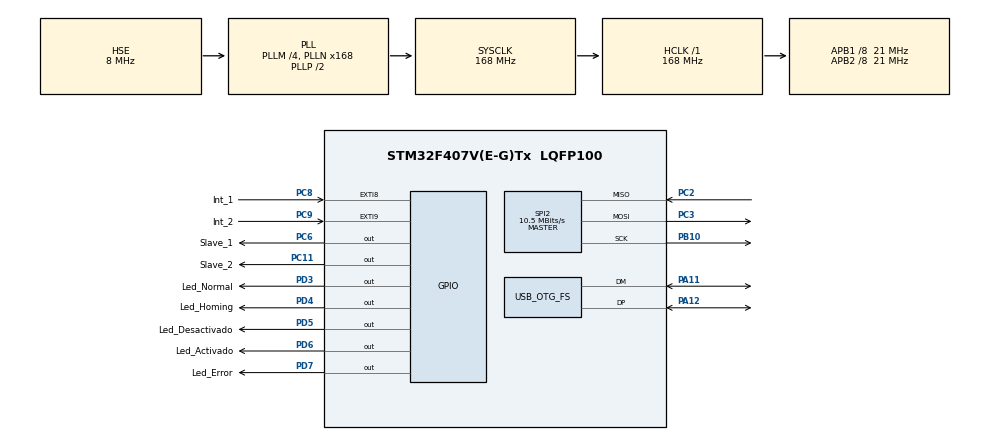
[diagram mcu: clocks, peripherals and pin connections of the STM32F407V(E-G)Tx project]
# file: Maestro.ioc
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Mcu.Family=STM32F4
Mcu.Name=STM32F407V(E-G)Tx
Mcu.Package=LQFP100
NVIC.EXTI9_5_IRQn=true\:0\:0\:true\:false\:true\:true\:true
NVIC.OTG_FS_IRQn=true\:0\:0\:false\:false\:true\:true\:true
NVIC.PriorityGroup=NVIC_PRIORITYGROUP_3
NVIC.SPI2_IRQn=true\:0\:0\:true\:false\:true\:true\:true
PA11.Mode=Device_Only
PA11.Signal=USB_OTG_FS_DM
PA12.Mode=Device_Only
PA12.Signal=USB_OTG_FS_DP
PB10.Mode=Full_Duplex_Master
PB10.Signal=SPI2_SCK
PC11.GPIO_Label=Slave_2
PC11.GPIO_Speed=GPIO_SPEED_FREQ_HIGH
PC11.PinState=GPIO_PIN_RESET
PC11.Signal=GPIO_Output
PC2.Mode=Full_Duplex_Master
PC2.Signal=SPI2_MISO
PC3.Mode=Full_Duplex_Master
PC3.Signal=SPI2_MOSI
PC6.GPIO_Label=Slave_1
PC6.GPIO_Speed=GPIO_SPEED_FREQ_HIGH
PC6.PinState=GPIO_PIN_SET
PC6.Signal=GPIO_Output
PC8.GPIO_Label=Int_1
PC8.GPIO_ModeDefaultEXTI=GPIO_MODE_IT_RISING
PC8.GPIO_PuPd=GPIO_PULLDOWN
PC8.Signal=GPXTI8
PC9.GPIO_Label=Int_2
PC9.GPIO_ModeDefaultEXTI=GPIO_MODE_IT_RISING
PC9.GPIO_PuPd=GPIO_PULLDOWN
PC9.Signal=GPXTI9
PD3.GPIO_Label=Led_Normal
PD3.Signal=GPIO_Output
PD4.GPIO_Label=Led_Homing
PD4.Signal=GPIO_Output
PD5.GPIO_Label=Led_Desactivado
PD5.PinState=GPIO_PIN_SET
PD5.Signal=GPIO_Output
PD6.GPIO_Label=Led_Activado
PD6.Signal=GPIO_Output
PD7.GPIO_Label=Led_Error
PD7.Signal=GPIO_Output
PH0-OSC_IN.Mode=HSE-External-Clock-Source
PH0-OSC_IN.Signal=RCC_OSC_IN
PH1-OSC_OUT.Mode=HSE-External-Clock-Source
PH1-OSC_OUT.Signal=RCC_OSC_OUT
ProjectManager.HeapSize=0x2000
ProjectManager.StackSize=0x4000
ProjectManager.TargetToolchain=STM32CubeIDE
RCC.48MHZClocksFreq_Value=48000000
RCC.AHBFreq_Value=168000000
RCC.APB1CLKDivider=RCC_HCLK_DIV8
RCC.APB1Freq_Value=21000000
RCC.APB1TimFreq_Value=42000000
RCC.APB2CLKDivider=RCC_HCLK_DIV8
RCC.APB2Freq_Value=21000000
RCC.APB2TimFreq_Value=42000000
RCC.CortexFreq_Value=168000000
RCC.HCLKFreq_Value=168000000
RCC.HSE_VALUE=8000000
RCC.HSI_VALUE=16000000
RCC.LSE_VALUE=32768
RCC.LockedElements=USBOTGOutput,PeriphPrescOutput,APB2Output,TimPrescOut,APB1Output,FCLKCortexOutput,CortexSysOutput,HCLKOutput,EthernetPtpOutput
RCC.PLLM=4
RCC.PLLN=168
RCC.PLLQ=7
RCC.SYSCLKFreq_VALUE=168000000
RCC.SYSCLKSource=RCC_SYSCLKSOURCE_PLLCLK
RCC.VCOOutputFreq_Value=336000000
SPI2.BaudRatePrescaler=SPI_BAUDRATEPRESCALER_2
SPI2.CalculateBaudRate=10.5 MBits/s
SPI2.Direction=SPI_DIRECTION_2LINES
SPI2.Mode=SPI_MODE_MASTER
SPI2.VirtualType=VM_MASTER
USB_DEVICE.CLASS_NAME_FS=CDC
USB_DEVICE.VirtualMode-CDC_FS=Cdc
USB_DEVICE.VirtualModeFS=Cdc_FS
USB_OTG_FS.VirtualMode=Device_Only
VP_USB_DEVICE_VS_USB_DEVICE_CDC_FS.Mode=CDC_FS
board=STM32F407G-DISC1

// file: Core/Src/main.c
/* USER CODE BEGIN Header */
/**
 ******************************************************************************
 * @file           : main.c
 * @brief          : Main program body
 ******************************************************************************
 * @attention
 *
 * <h2><center>&copy; Copyright (c) 2020 STMicroelectronics.
 * All rights reserved.</center></h2>
 *
 * This software component is licensed by ST under Ultimate Liberty license
 * SLA0044, the "License"; You may not use this file except in compliance with
 * the License. You may obtain a copy of the License at:
 *                             www.st.com/SLA0044
 *
 ******************************************************************************
 */
/* USER CODE END Header */

#include "main.h"
#include "spi.h"
#include "usb_device.h"
#include "gpio.h"
#include "funciones.h"
/* USER CODE BEGIN Includes */
#include "usbd_cdc_if.h"
#include "identificador.h"
/* USER CODE END Includes */

/* USER CODE BEGIN PV */
extern int contador_instrucciones;
extern char str[50];
extern uint8_t flag_mensaje_completo;
volatile uint8_t flag_INT = 1;
uint8_t pRxData, dato_P = 'K';
enum Estado_MDE {
	Activado, Desactivado, Modo_Homing, Modo_Normal, Error
};
enum Modos {
	M_error, M_listo, M_realizando
};
typedef struct estado_esclavos {
	enum Modos esclavo_1;
	enum Modos esclavo_2;
} Estado_Esclavos;
Estado_Esclavos controlador;
/* USER CODE END PV */

void SystemClock_Config(void);

int main(void) {
	/* USER CODE BEGIN 1 */
	int cant = 0;
	double instrucciones[50];
	//Flags
	uint8_t flag_activacion = 0;
	uint8_t flag_homing = 0, flag_cambio = 0;
	//Variables enum
	enum Estado_MDE estado = Desactivado;
	int comando;
	controlador.esclavo_1 = M_listo;
	controlador.esclavo_2 = M_listo;
	/* USER CODE END 1 */

	/* MCU Configuration--------------------------------------------------------*/

	/* Reset of all peripherals, Initializes the Flash interface and the Systick. */
	HAL_Init();

	/* Configure the system clock */
	SystemClock_Config();

	/* Initialize all configured peripherals */
	MX_GPIO_Init();
	MX_USB_DEVICE_Init();
	MX_SPI2_Init();
	/* USER CODE BEGIN 2 */
	/*	SPI_Transmit_1('D');
	 SPI_Transmit_1('/');
	 SPI_Transmit_1('P');*/
	SPI_Transmit_1(':');
	/*controlador.esclavo_1 = M_realizando;
	 Mi_Timer();*/
	/* USER CODE END 2 */

	/* Infinite loop */
	/* USER CODE BEGIN WHILE */
	while (1) {
		//Generar string
		//Generar comandos
		if (flag_mensaje_completo == 0) {
			cant = identificador(str, instrucciones, contador_instrucciones);
			flag_mensaje_completo = 1;
			contador_instrucciones = 0;
		}
		//Identificar comandos
		if (flag_mensaje_completo == 1) {
			for (int i = 0; i < cant; i++) {
				while (controlador.esclavo_1 == M_realizando
						|| controlador.esclavo_2 == M_realizando)

					;
				comando = (int) instrucciones[i];
				switch (comando) {
				case Modo_desactivado:
					if (flag_activacion) {
						SPI_Transmit_1('D');
						SPI_Transmit_1('/');
						SPI_Transmit_1('P');
						SPI_Transmit_1(':');
						Mi_Timer();
						if (dato_P == 'D') {
							estado = Desactivado;
							flag_activacion = 0;
							flag_homing = 0;
							flag_cambio = 1;
						} else if (dato_P == 'E') {
							estado = Error;
							i = cant;
						} else {
							i--;
						}
					}
					break;
				case Modo_activado:
					if (!flag_activacion) {
						SPI_Transmit_1('A');
						SPI_Transmit_1('/');
						SPI_Transmit_1('P');
						SPI_Transmit_1(':');
						Mi_Timer();
						if (dato_P == 'A') {
							estado = Activado;
							flag_activacion = 1;
							flag_cambio = 1;
						} else if (dato_P == 'E') {
							estado = Error;
							i = cant;
						} else {
							i--;
						}
					}
					break;
				case Modo_homing:
					if (flag_activacion) {
						//Prender un LED
						//Mandar consigna de homing
						controlador.esclavo_1 = M_realizando;
						SPI_Transmit_1('H');
						SPI_Transmit_1('/');
						//Verificar consigna
						SPI_Transmit_1('P');
						SPI_Transmit_1(':');
						Mi_Timer();
						if (dato_P == 'H') {
							Leds_Homing();
							estado = Modo_Homing;
							flag_homing = 1;
							flag_cambio = 1;
						} else if (dato_P == 'E') {
							estado = Error;
							i = cant;
						} else {
							i--;
						}
					}
					break;
				case Cin_dir:
					if (flag_activacion && flag_homing) {
						controlador.esclavo_1 = M_realizando;
						Cin_Dir(instrucciones, i);
						Mi_Timer();
						//Verificar que se logre
						if (dato_P == 'N') {
							Leds_Normal();
							estado = Modo_Normal;
							flag_cambio = 1;
						} else if (dato_P == 'E') {
							estado = Error;
							i = cant;
						} else {
							i--;
						}
					}
					i += 5;
					break;
				case Cin_inv:
					i += 5;
					break;
				case Resumen:
					break;
				}
				dato_P = 'K';
			}
			flag_mensaje_completo = 2;
			cant = 0;
		}
		if (controlador.esclavo_1 == M_listo
				&& controlador.esclavo_2 == M_listo) {
			switch (estado) {
			case Activado:
				if (flag_cambio) {
					Leds_Activado();
					flag_cambio = 0;
				}
				break;
			case Desactivado:
				if (flag_cambio) {
					//Prender LED
					Leds_Desactivado();
					flag_cambio = 0;
				}
				break;
			case Modo_Homing:
				if (flag_cambio) {
					//Prender LED
					HAL_GPIO_WritePin(Led_Homing_GPIO_Port, Led_Homing_Pin,
							GPIO_PIN_RESET);
					flag_cambio = 0;
				}
				break;
			case Modo_Normal:
				if (flag_cambio) {
					//Prender LED
					HAL_GPIO_WritePin(Led_Normal_GPIO_Port, Led_Normal_Pin,
							GPIO_PIN_RESET);
					flag_cambio = 0;
				}
				break;
			case Error:
				//	Leds_Error();
				break;
			}
		}

		/* USER CODE END WHILE */

	}
}
void SystemClock_Config(void) {
	RCC_OscInitTypeDef RCC_OscInitStruct = { 0 };
	RCC_ClkInitTypeDef RCC_ClkInitStruct = { 0 };

	/** Configure the main internal regulator output voltage
	 */
	__HAL_RCC_PWR_CLK_ENABLE();
	__HAL_PWR_VOLTAGESCALING_CONFIG(PWR_REGULATOR_VOLTAGE_SCALE1);
	/** Initializes the CPU, AHB and APB busses clocks
	 */
	RCC_OscInitStruct.OscillatorType = RCC_OSCILLATORTYPE_HSE;
	RCC_OscInitStruct.HSEState = RCC_HSE_BYPASS;
	RCC_OscInitStruct.PLL.PLLState = RCC_PLL_ON;
	RCC_OscInitStruct.PLL.PLLSource = RCC_PLLSOURCE_HSE;
	RCC_OscInitStruct.PLL.PLLM = 4;
	RCC_OscInitStruct.PLL.PLLN = 168;
	RCC_OscInitStruct.PLL.PLLP = RCC_PLLP_DIV2;
	RCC_OscInitStruct.PLL.PLLQ = 7;
	if (HAL_RCC_OscConfig(&RCC_OscInitStruct) != HAL_OK) {
		Error_Handler();
	}
	/** Initializes the CPU, AHB and APB busses clocks
	 */
	RCC_ClkInitStruct.ClockType = RCC_CLOCKTYPE_HCLK | RCC_CLOCKTYPE_SYSCLK
			| RCC_CLOCKTYPE_PCLK1 | RCC_CLOCKTYPE_PCLK2;
	RCC_ClkInitStruct.SYSCLKSource = RCC_SYSCLKSOURCE_PLLCLK;
	RCC_ClkInitStruct.AHBCLKDivider = RCC_SYSCLK_DIV1;
	RCC_ClkInitStruct.APB1CLKDivider = RCC_HCLK_DIV8;
	RCC_ClkInitStruct.APB2CLKDivider = RCC_HCLK_DIV8;

	if (HAL_RCC_ClockConfig(&RCC_ClkInitStruct, FLASH_LATENCY_5) != HAL_OK) {
		Error_Handler();
	}
}

/* USER CODE BEGIN 4 */
/*Va a haber dos funciones slave transmit,
 una para cada esclavo, va a ser una sola interrupcion externa por placa
 La gestion de cada motor lo hace cada esclavo.
 En el struct tenemos que tener: Posicion actual, posicion deseada, dirección
 deseada, etc.*/
//Esta funcion la tenemos que hacer contemplando el modo de trabajo.
void SPI_Transmit_1(uint8_t pTxData) {

	HAL_GPIO_WritePin(GPIOC, GPIO_PIN_6, GPIO_PIN_RESET);
	HAL_SPI_Transmit_IT(&hspi2, &pTxData, 1);
	HAL_GPIO_WritePin(GPIOC, GPIO_PIN_6, GPIO_PIN_SET);
}
void SPI_Transmit_2(uint8_t pTxData) {

//HAL_GPIO_WritePin(GPIOC, GPIO_PIN_6, GPIO_PIN_RESET); //PIN NSS Esclavo 2 Bajo
//HAL_SPI_Transmit_IT(&hspi2, &pTxData, 1);
//HAL_GPIO_WritePin(GPIOC, GPIO_PIN_6, GPIO_PIN_SET);	//PIN NSS Esclavo 2 Alto
}
void Mi_Timer() {
	flag_INT = 1;
	/*	long contador = 0;
	 flag_INT = 1;
	 switch (estado) {
	 case 'A':
	 while (flag_INT) {
	 contador++;
	 if (contador == 1000000) {
	 pRxData = 'K';
	 break;
	 }
	 }
	 break;
	 case 'D':
	 while (flag_INT) {
	 contador++;
	 if (contador == 1000000) {
	 pRxData = 'K';
	 break;
	 }
	 }
	 break;
	 case 'H':
	 while (flag_INT);
	 break;
	 case 'N':
	 while (flag_INT);
	 break;
	 }
	 */
	while (flag_INT)
		;
	flag_INT = 1;

}
void HAL_GPIO_EXTI_Callback(uint16_t GPIO_Pin) {
	static uint8_t D_transmision = '\0';
	switch (GPIO_Pin) {
	case GPIO_PIN_8: 	//INT 1 Esclavo 1 (2 motores)
		HAL_GPIO_WritePin(GPIOC, GPIO_PIN_6, GPIO_PIN_RESET);
		HAL_SPI_TransmitReceive(&hspi2, &D_transmision, &pRxData, 1, 1);
		HAL_GPIO_WritePin(GPIOC, GPIO_PIN_6, GPIO_PIN_SET);
		if (pRxData == 'E') {
			SPI_Transmit_2('E');
			SPI_Transmit_2(':');
			flag_INT = 0;
			dato_P = 'E';
			controlador.esclavo_1 = M_error;
			Error_Handler();
		} else if (pRxData == 'L') {
			controlador.esclavo_1 = M_listo;
		} else {
			flag_INT = 0;
			dato_P = pRxData;
		}
		break;
	case GPIO_PIN_9: 	//INT2 Esclavo 2
		/*
		 HAL_GPIO_WritePin(GPIOC, GPIO_PIN_6, GPIO_PIN_RESET);
		 HAL_SPI_TransmitReceive(&hspi2, &D_transmision, &pRxData, 1, 1);
		 HAL_GPIO_WritePin(GPIOC, GPIO_PIN_6, GPIO_PIN_SET);
		 if(pRxData=='E'){
		 SPI_Transmit_1('E');
		 SPI_Transmit_1(':');
		 }*/
		break;
	}

}
/* USER CODE END 4 */

void Error_Handler(void) {
	/* USER CODE BEGIN Error_Handler_Debug */
	Leds_Error();
	while (1)
		;
	/* User can add his own implementation to report the HAL error return state */

	/* USER CODE END Error_Handler_Debug */
}

/************************ (C) COPYRIGHT STMicroelectronics *****END OF FILE****/
